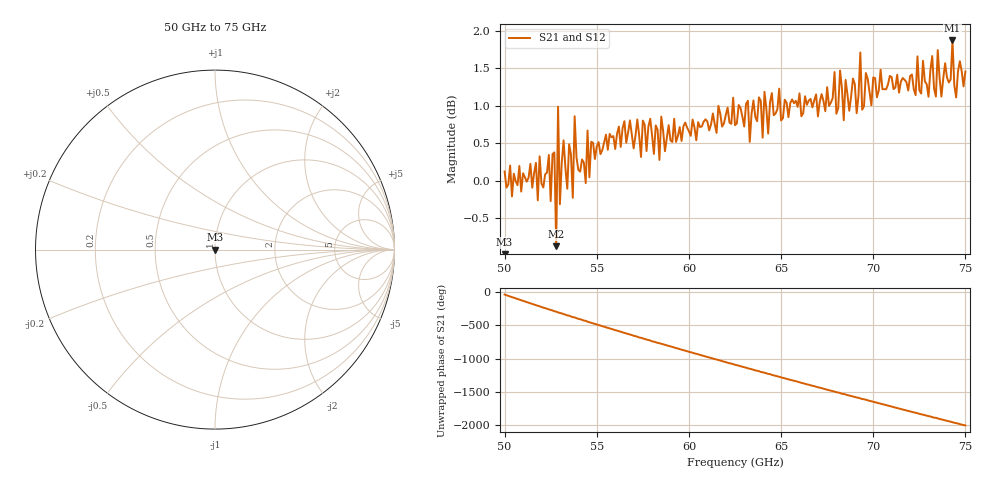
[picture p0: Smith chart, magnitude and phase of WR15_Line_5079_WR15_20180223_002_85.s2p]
# GHZ S RI R 50
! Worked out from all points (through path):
!   251 points, 50 GHz to 75 GHz, reference 50 ohm
!   highest |S21| = 1.87 dB at 74.3 GHz (marker M1); lowest = -0.9 dB at 52.8 GHz (marker M2)
!   lowest |S11| = - dB at 50 GHz (marker M3), VSWR 1.00, Z = 50 + j2e-15 ohm
!   |S11| at or under -10 dB: start of sweep to end of sweep
!   |S22| runs from - to - dB; largest |S21 - S12| = 1e-14
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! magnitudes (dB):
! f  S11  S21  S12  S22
! 50 GHz  -  0.1  0.1  -
! 52.4 GHz  -  0.3  0.3  -
! 52.5 GHz  -  -0.3  -0.3  -
! 52.7 GHz  -  0.4  0.4  -
! 52.8 GHz  -  -0.9  -0.9  -
! 52.9 GHz  -  1.0  1.0  -
! 53 GHz  -  -0.3  -0.3  -
! 53.2 GHz  -  0.5  0.5  -
! 53.7 GHz  -  -0.2  -0.2  -
! 53.8 GHz  -  0.9  0.9  -
! 54.2 GHz  -  0.3  0.3  -
! 58.4 GHz  -  0.3  0.3  -
! 58.5 GHz  -  0.9  0.9  -
! 62.5 GHz  -  0.7  0.7  -
! 66.7 GHz  -  1.0  1.0  -
! 70.9 GHz  -  1.4  1.4  -
! 73.4 GHz  -  1.1  1.1  -
! 73.5 GHz  -  1.7  1.7  -
! 73.7 GHz  -  1.1  1.1  -
! 74.3 GHz  -  1.9  1.9  -
! 74.5 GHz  -  1.1  1.1  -
! 75 GHz  -  1.5  1.5  -
